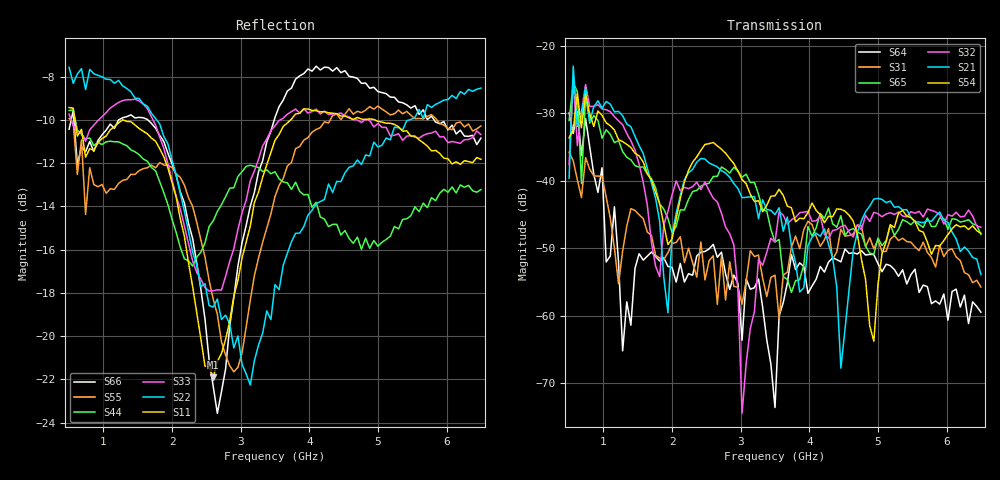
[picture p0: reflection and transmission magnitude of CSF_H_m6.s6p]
!Keysight Technologies,M9804A,MY58100912,A.14.10.03
!Date: Thursday, April 27, 2023 10:28:33
!Correction: S11(C  6-Port  )
!S12(C  6-Port  )
!S13(C  6-Port  )
!S14(C  6-Port  )
!S15(C  6-Port  )
!S16(C  6-Port  )
!S21(C  6-Port  )
!S22(C  6-Port  )
!S23(C  6-Port  )
!S24(C  6-Port  )
!S25(C  6-Port  )
!S26(C  6-Port  )
!S31(C  6-Port  )
!S32(C  6-Port  )
!S33(C  6-Port  )
!S34(C  6-Port  )
!S35(C  6-Port  )
!S36(C  6-Port  )
!S41(C  6-Port  )
!S42(C  6-Port  )
!S43(C  6-Port  )
!S44(C  6-Port  )
!S45(C  6-Port  )
!S46(C  6-Port  )
!S51(C  6-Port  )
!S52(C  6-Port  )
!S53(C  6-Port  )
!S54(C  6-Port  )
!S55(C  6-Port  )
!S56(C  6-Port  )
!S61(C  6-Port  )
!S62(C  6-Port  )
!S63(C  6-Port  )
!S64(C  6-Port  )
!S65(C  6-Port  )
!S66(C  6-Port  )
!S6P File: Measurement: :
# Hz S  RI  R 50
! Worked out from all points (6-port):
!   101 points, 500 MHz to 6.5 GHz, reference 50 ohm
!   strongest paths, dB at 500 MHz, 2 GHz, 3.5 GHz, 5 GHz, 6.5 GHz:
!     S54: -33.7, -48.6, -42.3, -55.4, -47.8
!     S21: -39.6, -48.0, -45.0, -42.6, -53.9
!     S32: -37.6, -42.1, -49.1, -44.9, -46.9
!     S65: -31.1, -47.7, -49.1, -48.5, -48.0
!     S31: -35.8, -49.3, -54.0, -48.8, -55.8
!     S64: -30.0, -52.9, -73.6, -52.3, -59.5
!   lowest |S11| = -21.9 dB at 2.6 GHz (marker M1), VSWR 1.17, Z = 42.8 + j1.87 ohm
!   |S11| at or under -10 dB: 585.5 MHz to 1.275 GHz (689.3 MHz wide, 74.1 % of centre); 1.29 GHz to 3.727 GHz (2.436 GHz wide, 97.1 % of centre); 4.957 GHz to end of sweep
